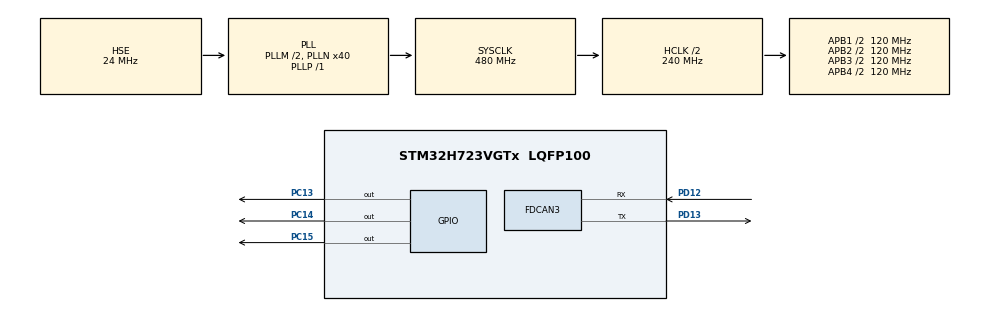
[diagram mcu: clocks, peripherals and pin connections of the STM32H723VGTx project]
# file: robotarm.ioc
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CORTEX_M7.default_mode_Activation=1
FDCAN3.CalculateBaudRateNominal=1000000
FDCAN3.CalculateTimeBitNominal=1000
FDCAN3.CalculateTimeQuantumNominal=40.0
FDCAN3.DataPrescaler=4
FDCAN3.DataTimeSeg1=19
FDCAN3.DataTimeSeg2=5
FDCAN3.ExtFiltersNbr=5
FDCAN3.NominalPrescaler=4
FDCAN3.NominalTimeSeg1=19
FDCAN3.NominalTimeSeg2=5
FDCAN3.RxFifo0ElmtSize=FDCAN_DATA_BYTES_24
FDCAN3.RxFifo0ElmtsNbr=4
FDCAN3.RxFifo1ElmtSize=FDCAN_DATA_BYTES_24
FDCAN3.StdFiltersNbr=5
FDCAN3.TxElmtSize=FDCAN_DATA_BYTES_24
FDCAN3.TxFifoQueueElmtsNbr=8
Mcu.Family=STM32H7
Mcu.Name=STM32H723VGTx
Mcu.Package=LQFP100
NVIC.FDCAN3_IT0_IRQn=true\:0\:0\:false\:false\:true\:true\:true\:true
NVIC.FDCAN3_IT1_IRQn=true\:0\:0\:false\:false\:true\:true\:true\:true
NVIC.PriorityGroup=NVIC_PRIORITYGROUP_4
PA13(JTMS/SWDIO).Mode=Serial_Wire
PA13(JTMS/SWDIO).Signal=DEBUG_JTMS-SWDIO
PA14(JTCK/SWCLK).Mode=Serial_Wire
PA14(JTCK/SWCLK).Signal=DEBUG_JTCK-SWCLK
PC13.Signal=GPIO_Output
PC14-OSC32_IN.Signal=GPIO_Output
PC15-OSC32_OUT.Signal=GPIO_Output
PD12.Mode=FDCAN_Activate
PD12.Signal=FDCAN3_RX
PD13.Mode=FDCAN_Activate
PD13.Signal=FDCAN3_TX
PH0-OSC_IN.Mode=HSE-External-Oscillator
PH0-OSC_IN.Signal=RCC_OSC_IN
PH1-OSC_OUT.Mode=HSE-External-Oscillator
PH1-OSC_OUT.Signal=RCC_OSC_OUT
ProjectManager.HeapSize=0x200
ProjectManager.StackSize=0x400
ProjectManager.TargetToolchain=MDK-ARM V5.32
RCC.ADCFreq_Value=100000000
RCC.APB1Freq_Value=120000000
RCC.APB2Freq_Value=120000000
RCC.APB3Freq_Value=120000000
RCC.APB4Freq_Value=120000000
RCC.CortexFreq_Value=480000000
RCC.D1PPRE=RCC_APB3_DIV2
RCC.D2PPRE1=RCC_APB1_DIV2
RCC.D2PPRE2=RCC_APB2_DIV2
RCC.D3PPRE=RCC_APB4_DIV2
RCC.DIVM1=2
RCC.DIVM2=24
RCC.DIVN1=40
RCC.DIVN2=200
RCC.DIVP1=1
RCC.FDCANCLockSelection=RCC_FDCANCLKSOURCE_PLL2
RCC.HCLKFreq_Value=240000000
RCC.HPRE=RCC_HCLK_DIV2
RCC.HSE_VALUE=24000000
RCC.PLLSourceVirtual=RCC_PLLSOURCE_HSE
RCC.SYSCLKFreq_VALUE=480000000
RCC.SYSCLKSource=RCC_SYSCLKSOURCE_PLLCLK
RCC.USBFreq_Value=240000000
TIM6.Period=240-1
TIM6.Prescaler=2000-1
VP_MEMORYMAP_VS_MEMORYMAP.Mode=CurAppReg
VP_TIM6_VS_ClockSourceINT.Mode=Enable_Timer
board=custom

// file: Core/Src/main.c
/* USER CODE BEGIN Header */
/**
  ******************************************************************************
  * @file           : main.c
  * @brief          : Main program body
  ******************************************************************************
  * @attention
  *
  * Copyright (c) 2026 STMicroelectronics.
  * All rights reserved.
  *
  * This software is licensed under terms that can be found in the LICENSE file
  * in the root directory of this software component.
  * If no LICENSE file comes with this software, it is provided AS-IS.
  *
  ******************************************************************************
  */
/* USER CODE END Header */
#include "main.h"
#include "fdcan.h"
#include "tim.h"
#include "gpio.h"

/* USER CODE BEGIN Includes */
#include "robotarm_mixed.h"

/* USER CODE END Includes */

/* USER CODE BEGIN PD */

#define ARM_MIT_TEST_CONTROL_PERIOD_MS  100U
#define ARM_MIT_TEST_POS_A_MS           1500U
#define ARM_MIT_TEST_POS_B_MS           1500U
//计时器
#define ARM_DM_TEST_POS_A               0.0f
#define ARM_DM_TEST_POS_B               0.0f
#define ARM_DM_TEST_SPEED_A             0.0f
#define ARM_DM_TEST_SPEED_B							0.0f
#define ARM_DM_TEST_KP                  0.0f
#define ARM_DM_TEST_KD                  0.0f
#define ARM_DM_TEST_TORQUE              0.0f
//达妙电机发送信息
#define ARM_EL05_TEST_POS_A             3.0f
#define ARM_EL05_TEST_SPEED_A           0.5f
#define ARM_EL05_TEST_KP                0.8f
#define ARM_EL05_TEST_KD                0.3f
#define ARM_EL05_TEST_TORQUE            0.0f
//灵足电机发送信息
#define ARM_EL05_SET_MIT_PROTOCOL_ON_BOOT  1U
//切换MIT模式
/* USER CODE END PD */

/* USER CODE BEGIN PV */

volatile uint8_t arm_test_phase = 0U;
volatile uint32_t arm_test_loop_cnt = 0U;
volatile float arm_test_dm1_pos = 0.0f;
volatile float arm_test_dm2_pos = 0.0f;
volatile float arm_test_el05_pos = 0.0f;

/* USER CODE END PV */

void SystemClock_Config(void);
static void MPU_Config(void);

int main(void)
{

  /* MPU Configuration--------------------------------------------------------*/
  MPU_Config();

  /* MCU Configuration--------------------------------------------------------*/

  /* Reset of all peripherals, Initializes the Flash interface and the Systick. */
  HAL_Init();

  /* Configure the system clock */
  SystemClock_Config();

  /* Initialize all configured peripherals */
  MX_GPIO_Init();
  MX_FDCAN3_Init();
  MX_TIM6_Init();
  /* USER CODE BEGIN 2 */
	 HAL_GPIO_WritePin(GPIOC, GPIO_PIN_13, GPIO_PIN_SET);
	 HAL_GPIO_WritePin(GPIOC, GPIO_PIN_14, GPIO_PIN_SET);
	 HAL_GPIO_WritePin(GPIOC, GPIO_PIN_15, GPIO_PIN_SET);

	/* 这里只做两个达妙电机的独立测试：
	 * 1. 清空反馈变量；
	 * 2. 等电机和 CAN 总线稳定；
	 * 3. 连续发 3 次 MIT 使能帧给达妙 1 和达妙 2。
	 */
	RobotArm_Mixed_Init();
	HAL_Delay(500);

#if ARM_EL05_SET_MIT_PROTOCOL_ON_BOOT
	RobotArm_EL05_SetProtocolMIT();
	HAL_Delay(100);
#endif

	RobotArm_Mixed_Enable();
	HAL_Delay(50);

	uint32_t arm_test_start_ms = HAL_GetTick();
	//dm8006_set_zero_position(&hfdcan3, ROBOTARM_DM8006_1_ID);
	//dm8006_set_zero_position(&hfdcan3, ROBOTARM_DM8006_2_ID);
	//RobotArm_EL05_MIT_SetZero()
	//初始零点设置
  /* USER CODE END 2 */

  /* Infinite loop */
  /* USER CODE BEGIN WHILE */
  while (1)
  {
		static uint32_t last_ms = 0;

    if ((HAL_GetTick() - last_ms) >= ARM_MIT_TEST_CONTROL_PERIOD_MS)
    {
        uint32_t now_ms = HAL_GetTick();
        uint32_t test_phase_ms = (now_ms - arm_test_start_ms) %
                                 (ARM_MIT_TEST_POS_A_MS + ARM_MIT_TEST_POS_B_MS);
        RobotArm_MixedCommand_t cmd = {0};

        last_ms = now_ms;
				leg_angle (2);
        arm_test_phase = 0U;

        cmd.dm8006_1.pos =ARM_DM_TEST_POS_A;
        cmd.dm8006_1.vel =ARM_DM_TEST_SPEED_A;
        cmd.dm8006_1.kp = ARM_DM_TEST_KP;
        cmd.dm8006_1.kd = ARM_DM_TEST_KD;
        cmd.dm8006_1.tor = ARM_DM_TEST_TORQUE;

        cmd.dm8006_2.pos = ARM_DM_TEST_POS_B;
        cmd.dm8006_2.vel = ARM_DM_TEST_SPEED_B;
        cmd.dm8006_2.kp = ARM_DM_TEST_KP;
        cmd.dm8006_2.kd = ARM_DM_TEST_KD;
        cmd.dm8006_2.tor = ARM_DM_TEST_TORQUE;

        cmd.el05.pos = ARM_EL05_TEST_POS_A;
        cmd.el05.vel = ARM_EL05_TEST_SPEED_A;
        cmd.el05.kp = ARM_EL05_TEST_KP;
        cmd.el05.kd = ARM_EL05_TEST_KD;
        cmd.el05.tor = ARM_EL05_TEST_TORQUE;

        RobotArm_Mixed_Control(&cmd);
    }
    /* USER CODE END WHILE */

  }
}

void SystemClock_Config(void)
{
  RCC_OscInitTypeDef RCC_OscInitStruct = {0};
  RCC_ClkInitTypeDef RCC_ClkInitStruct = {0};

  /** Supply configuration update enable
  */
  HAL_PWREx_ConfigSupply(PWR_LDO_SUPPLY);

  /** Configure the main internal regulator output voltage
  */
  __HAL_PWR_VOLTAGESCALING_CONFIG(PWR_REGULATOR_VOLTAGE_SCALE0);

  while(!__HAL_PWR_GET_FLAG(PWR_FLAG_VOSRDY)) {}

  /** Initializes the RCC Oscillators according to the specified parameters
  * in the RCC_OscInitTypeDef structure.
  */
  RCC_OscInitStruct.OscillatorType = RCC_OSCILLATORTYPE_HSE;
  RCC_OscInitStruct.HSEState = RCC_HSE_ON;
  RCC_OscInitStruct.PLL.PLLState = RCC_PLL_ON;
  RCC_OscInitStruct.PLL.PLLSource = RCC_PLLSOURCE_HSE;
  RCC_OscInitStruct.PLL.PLLM = 2;
  RCC_OscInitStruct.PLL.PLLN = 40;
  RCC_OscInitStruct.PLL.PLLP = 1;
  RCC_OscInitStruct.PLL.PLLQ = 2;
  RCC_OscInitStruct.PLL.PLLR = 2;
  RCC_OscInitStruct.PLL.PLLRGE = RCC_PLL1VCIRANGE_3;
  RCC_OscInitStruct.PLL.PLLVCOSEL = RCC_PLL1VCOWIDE;
  RCC_OscInitStruct.PLL.PLLFRACN = 0;
  if (HAL_RCC_OscConfig(&RCC_OscInitStruct) != HAL_OK)
  {
    Error_Handler();
  }

  /** Initializes the CPU, AHB and APB buses clocks
  */
  RCC_ClkInitStruct.ClockType = RCC_CLOCKTYPE_HCLK|RCC_CLOCKTYPE_SYSCLK
                              |RCC_CLOCKTYPE_PCLK1|RCC_CLOCKTYPE_PCLK2
                              |RCC_CLOCKTYPE_D3PCLK1|RCC_CLOCKTYPE_D1PCLK1;
  RCC_ClkInitStruct.SYSCLKSource = RCC_SYSCLKSOURCE_PLLCLK;
  RCC_ClkInitStruct.SYSCLKDivider = RCC_SYSCLK_DIV1;
  RCC_ClkInitStruct.AHBCLKDivider = RCC_HCLK_DIV2;
  RCC_ClkInitStruct.APB3CLKDivider = RCC_APB3_DIV2;
  RCC_ClkInitStruct.APB1CLKDivider = RCC_APB1_DIV2;
  RCC_ClkInitStruct.APB2CLKDivider = RCC_APB2_DIV2;
  RCC_ClkInitStruct.APB4CLKDivider = RCC_APB4_DIV2;

  if (HAL_RCC_ClockConfig(&RCC_ClkInitStruct, FLASH_LATENCY_3) != HAL_OK)
  {
    Error_Handler();
  }
}

 /* MPU Configuration */

void MPU_Config(void)
{
  MPU_Region_InitTypeDef MPU_InitStruct = {0};

  /* Disables the MPU */
  HAL_MPU_Disable();

  /** Initializes and configures the Region and the memory to be protected
  */
  MPU_InitStruct.Enable = MPU_REGION_ENABLE;
  MPU_InitStruct.Number = MPU_REGION_NUMBER0;
  MPU_InitStruct.BaseAddress = 0x0;
  MPU_InitStruct.Size = MPU_REGION_SIZE_4GB;
  MPU_InitStruct.SubRegionDisable = 0x87;
  MPU_InitStruct.TypeExtField = MPU_TEX_LEVEL0;
  MPU_InitStruct.AccessPermission = MPU_REGION_NO_ACCESS;
  MPU_InitStruct.DisableExec = MPU_INSTRUCTION_ACCESS_DISABLE;
  MPU_InitStruct.IsShareable = MPU_ACCESS_SHAREABLE;
  MPU_InitStruct.IsCacheable = MPU_ACCESS_NOT_CACHEABLE;
  MPU_InitStruct.IsBufferable = MPU_ACCESS_NOT_BUFFERABLE;

  HAL_MPU_ConfigRegion(&MPU_InitStruct);
  /* Enables the MPU */
  HAL_MPU_Enable(MPU_PRIVILEGED_DEFAULT);

}

void Error_Handler(void)
{
  __disable_irq();
  while (1)
  {
  }
}
